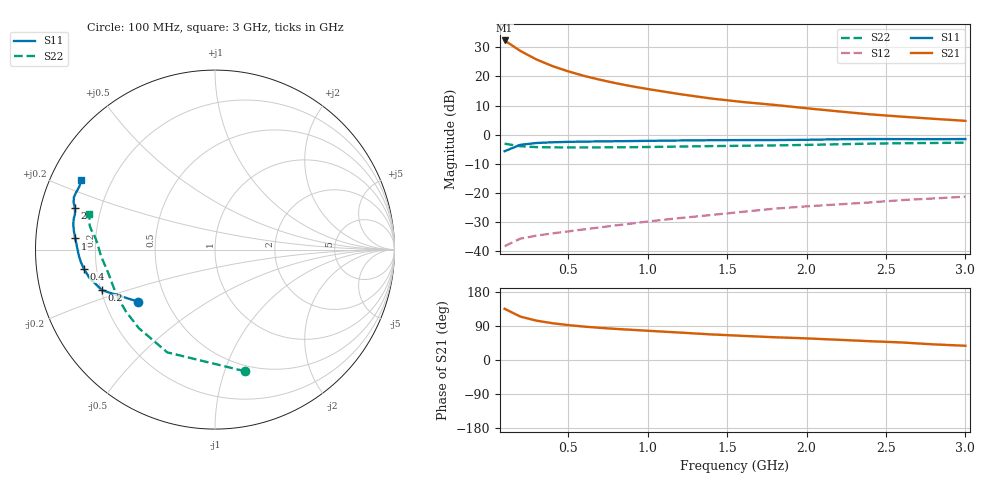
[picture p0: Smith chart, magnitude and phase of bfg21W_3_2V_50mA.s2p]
! Filename: 3_250bfg21.001
! Title: BFG21W
! Bias: Vce=3.2V; Ic=50mA
! Company: Philips Semiconductors NL
! User: Quality&Reliability T&D
! Measure time: 10 Nov 1999 / 11:42:27
#  MHz  S  MA  R 50
! Freq  S11  S21  S12  S22  :
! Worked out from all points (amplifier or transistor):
!   20 points, 100 MHz to 3 GHz, reference 50 ohm
!   highest |S21| = 32.3 dB at 100 MHz (marker M1)
!   |S21| within 3 dB of that: start of sweep to 182.7 MHz
!   unconditionally stable (mu >= 1): 872.9 MHz to end of sweep
!   at 400 MHz: K = 0.69, MSG = 28.8 dB, |S12| = -33.9 dB
!   at 1.2 GHz: K = 1.06, MAG = 19.8 dB, |S12| = -28.7 dB
!   at 3 GHz: K = 1.06, MAG = 11.5 dB, |S12| = -21.3 dB
!   S11 on the Smith chart (normalised r, x): 100 MHz: 0.34, -0.27; 200 MHz: 0.20, -0.17; 400 MHz: 0.15, -0.07; 1 GHz: 0.12, +0.04; 2 GHz: 0.10, +0.14; 3 GHz: 0.09, +0.24
100  0.5189 -146.1  41.44 135.2  0.01212 50.9  0.6979 -76.2
200  0.6689 -160.2  27.29 114.4  0.01634 42.3  0.6313 -114.9
300  0.7172 -167.3  19.55 103.9  0.01837 41.7  0.6098 -134.2
400  0.7384 -171.6  15.07 97.1  0.02007 43.8  0.6041 -145.3
500  0.7504 -174.7  12.21 92.1  0.02172 46.6  0.6028 -152.4
600  0.7584 -177.2  10.2 88.1  0.02356 49.4  0.6028 -157.4
700  0.7641 -179.3  8.761 84.9  0.0255 52.2  0.6033 -161.2
800  0.7694 178.8  7.642 82.0  0.02752 54.7  0.6049 -164.4
900  0.7748 177.1  6.767 79.6  0.02971 57.4  0.6081 -167.1
1000  0.7813 175.4  6.072 77.2  0.03214 59.3  0.6124 -169.4
1200  0.7927 172.6  4.974 72.5  0.03682 62.3  0.6237 -173.3
1400  0.8009 170.3  4.17 67.5  0.04157 64.4  0.6349 -176.4
1600  0.8055 167.9  3.629 63.7  0.04724 66.1  0.6427 -179.1
1800  0.8055 165.5  3.235 60.0  0.05347 67.3  0.6521 178.1
2000  0.8147 163.4  2.838 57.1  0.05851 68.7  0.6654 175.1
2200  0.8315 161.4  2.508 53.4  0.06326 69.3  0.6823 172.6
2400  0.8387 159.5  2.23 49.6  0.06838 69.0  0.7 170.7
2600  0.8367 157.6  2.034 46.3  0.07496 68.5  0.7116 169.0
2800  0.8336 155.2  1.869 41.2  0.08002 67.2  0.7179 166.9
3000  0.8387 152.6  1.724 37.6  0.0859 66.6  0.727 164.3
